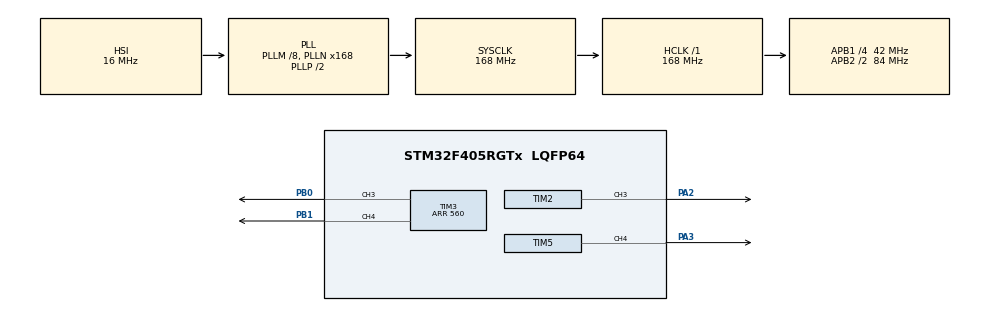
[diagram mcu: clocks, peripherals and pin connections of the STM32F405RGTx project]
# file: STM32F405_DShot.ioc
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Dma.Request0=TIM3_CH4/UP
Dma.Request1=TIM2_UP/CH3
Dma.Request2=TIM3_CH3
Dma.Request3=TIM5_CH4/TRIG
Dma.TIM2_UP/CH3.1.Direction=DMA_MEMORY_TO_PERIPH
Dma.TIM2_UP/CH3.1.FIFOMode=DMA_FIFOMODE_DISABLE
Dma.TIM2_UP/CH3.1.Instance=DMA1_Stream1
Dma.TIM2_UP/CH3.1.MemDataAlignment=DMA_MDATAALIGN_WORD
Dma.TIM2_UP/CH3.1.MemInc=DMA_MINC_ENABLE
Dma.TIM2_UP/CH3.1.Mode=DMA_NORMAL
Dma.TIM2_UP/CH3.1.PeriphDataAlignment=DMA_PDATAALIGN_WORD
Dma.TIM2_UP/CH3.1.PeriphInc=DMA_PINC_DISABLE
Dma.TIM2_UP/CH3.1.Priority=DMA_PRIORITY_HIGH
Dma.TIM3_CH3.2.Direction=DMA_MEMORY_TO_PERIPH
Dma.TIM3_CH3.2.FIFOMode=DMA_FIFOMODE_DISABLE
Dma.TIM3_CH3.2.Instance=DMA1_Stream7
Dma.TIM3_CH3.2.MemDataAlignment=DMA_MDATAALIGN_WORD
Dma.TIM3_CH3.2.MemInc=DMA_MINC_ENABLE
Dma.TIM3_CH3.2.Mode=DMA_NORMAL
Dma.TIM3_CH3.2.PeriphDataAlignment=DMA_PDATAALIGN_WORD
Dma.TIM3_CH3.2.PeriphInc=DMA_PINC_DISABLE
Dma.TIM3_CH3.2.Priority=DMA_PRIORITY_HIGH
Dma.TIM3_CH4/UP.0.Direction=DMA_MEMORY_TO_PERIPH
Dma.TIM3_CH4/UP.0.FIFOMode=DMA_FIFOMODE_DISABLE
Dma.TIM3_CH4/UP.0.Instance=DMA1_Stream2
Dma.TIM3_CH4/UP.0.MemDataAlignment=DMA_MDATAALIGN_WORD
Dma.TIM3_CH4/UP.0.MemInc=DMA_MINC_ENABLE
Dma.TIM3_CH4/UP.0.Mode=DMA_NORMAL
Dma.TIM3_CH4/UP.0.PeriphDataAlignment=DMA_PDATAALIGN_WORD
Dma.TIM3_CH4/UP.0.PeriphInc=DMA_PINC_DISABLE
Dma.TIM3_CH4/UP.0.Priority=DMA_PRIORITY_HIGH
Dma.TIM5_CH4/TRIG.3.Direction=DMA_MEMORY_TO_PERIPH
Dma.TIM5_CH4/TRIG.3.FIFOMode=DMA_FIFOMODE_DISABLE
Dma.TIM5_CH4/TRIG.3.Instance=DMA1_Stream3
Dma.TIM5_CH4/TRIG.3.MemDataAlignment=DMA_MDATAALIGN_WORD
Dma.TIM5_CH4/TRIG.3.MemInc=DMA_MINC_ENABLE
Dma.TIM5_CH4/TRIG.3.Mode=DMA_NORMAL
Dma.TIM5_CH4/TRIG.3.PeriphDataAlignment=DMA_PDATAALIGN_WORD
Dma.TIM5_CH4/TRIG.3.PeriphInc=DMA_PINC_DISABLE
Dma.TIM5_CH4/TRIG.3.Priority=DMA_PRIORITY_HIGH
Mcu.Family=STM32F4
Mcu.Name=STM32F405RGTx
Mcu.Package=LQFP64
NVIC.DMA1_Stream1_IRQn=true\:0\:0\:false\:false\:true\:false\:true\:true
NVIC.DMA1_Stream2_IRQn=true\:0\:0\:false\:false\:true\:false\:true\:true
NVIC.DMA1_Stream3_IRQn=true\:0\:0\:false\:false\:true\:false\:true\:true
NVIC.DMA1_Stream7_IRQn=true\:0\:0\:false\:false\:true\:false\:true\:true
NVIC.PriorityGroup=NVIC_PRIORITYGROUP_4
NVIC.TIM2_IRQn=true\:0\:0\:false\:false\:true\:true\:true\:true
NVIC.TIM3_IRQn=true\:0\:0\:false\:false\:true\:true\:true\:true
PA2.Signal=S_TIM2_CH3
PA3.Signal=S_TIM5_CH4
PB0.Signal=S_TIM3_CH3
PB1.Signal=S_TIM3_CH4
PH0-OSC_IN.Mode=HSE-External-Oscillator
PH0-OSC_IN.Signal=RCC_OSC_IN
PH1-OSC_OUT.Mode=HSE-External-Oscillator
PH1-OSC_OUT.Signal=RCC_OSC_OUT
ProjectManager.HeapSize=0x200
ProjectManager.StackSize=0x400
ProjectManager.TargetToolchain=STM32CubeIDE
RCC.48MHZClocksFreq_Value=84000000
RCC.AHBFreq_Value=168000000
RCC.APB1CLKDivider=RCC_HCLK_DIV4
RCC.APB1Freq_Value=42000000
RCC.APB1TimFreq_Value=84000000
RCC.APB2CLKDivider=RCC_HCLK_DIV2
RCC.APB2Freq_Value=84000000
RCC.APB2TimFreq_Value=168000000
RCC.CortexFreq_Value=168000000
RCC.HCLKFreq_Value=168000000
RCC.HSE_VALUE=8000000
RCC.HSI_VALUE=16000000
RCC.LSE_VALUE=32768
RCC.PLLM=8
RCC.PLLN=168
RCC.SYSCLKFreq_VALUE=168000000
RCC.SYSCLKSource=RCC_SYSCLKSOURCE_PLLCLK
RCC.VCOOutputFreq_Value=336000000
SH.S_TIM2_CH3.0=TIM2_CH3,PWM Generation3 CH3
SH.S_TIM3_CH3.0=TIM3_CH3,PWM Generation3 CH3
SH.S_TIM3_CH4.0=TIM3_CH4,PWM Generation4 CH4
SH.S_TIM5_CH4.0=TIM5_CH4,PWM Generation4 CH4
TIM2.Channel-PWM\ Generation3\ CH3=TIM_CHANNEL_3
TIM2.Period=560
TIM3.Channel-PWM\ Generation3\ CH3=TIM_CHANNEL_3
TIM3.Channel-PWM\ Generation4\ CH4=TIM_CHANNEL_4
TIM3.Period=560
TIM5.Channel-PWM\ Generation4\ CH4=TIM_CHANNEL_4
TIM5.Period=560
TIM5.Prescaler=0
VP_TIM2_VS_ClockSourceINT.Mode=Internal
VP_TIM3_VS_ClockSourceINT.Mode=Internal
board=custom

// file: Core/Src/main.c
/* USER CODE BEGIN Header */
/**
  ******************************************************************************
  * @file           : main.c
  * @brief          : Main program body
  ******************************************************************************
  * @attention
  *
  * Copyright (c) 2025 STMicroelectronics.
  * All rights reserved.
  *
  * This software is licensed under terms that can be found in the LICENSE file
  * in the root directory of this software component.
  * If no LICENSE file comes with this software, it is provided AS-IS.
  *
  ******************************************************************************
  */
/* USER CODE END Header */
#include "main.h"
#include "dma.h"
#include "tim.h"
#include "gpio.h"

/* USER CODE BEGIN Includes */
#include "err_code.h"
#include "esc_dshot.h"
/* USER CODE END Includes */

/* USER CODE BEGIN PD */
#define FL_ESC_DSHOT_TIM                htim3
#define FL_ESC_DSHOT_TIM_CHNL           TIM_CHANNEL_3

#define FR_ESC_DSHOT_TIM                htim3
#define FR_ESC_DSHOT_TIM_CHNL           TIM_CHANNEL_4

#define BL_ESC_DSHOT_TIM                htim5
#define BL_ESC_DSHOT_TIM_CHNL           TIM_CHANNEL_4

#define BR_ESC_DSHOT_TIM                htim2
#define BR_ESC_DSHOT_TIM_CHNL           TIM_CHANNEL_3

#define DMA_BUF_SIZE                    18
#define CONFIG_ESC_DSHOT_TYPE           ESC_DSHOT_TYPE_600
/* USER CODE END PD */

/* USER CODE BEGIN PV */
esc_dshot_handle_t fl_esc_dshot_handle;
esc_dshot_handle_t fr_esc_dshot_handle;
esc_dshot_handle_t bl_esc_dshot_handle;
esc_dshot_handle_t br_esc_dshot_handle;

uint32_t fl_esc_dshot_dmabuffer[DMA_BUF_SIZE];
uint32_t fr_esc_dshot_dmabuffer[DMA_BUF_SIZE];
uint32_t bl_esc_dshot_dmabuffer[DMA_BUF_SIZE];
uint32_t br_esc_dshot_dmabuffer[DMA_BUF_SIZE];
/* USER CODE END PV */

void SystemClock_Config(void);
/* USER CODE BEGIN PFP */
err_code_t hw_intf_fl_esc_dshot_send_dma(uint32_t *packet_dma);
err_code_t hw_intf_fr_esc_dshot_send_dma(uint32_t *packet_dma);
err_code_t hw_intf_bl_esc_dshot_send_dma(uint32_t *packet_dma);
err_code_t hw_intf_br_esc_dshot_send_dma(uint32_t *packet_dma);
/* USER CODE END PFP */

int main(void)
{

    /* MCU Configuration--------------------------------------------------------*/

    /* Reset of all peripherals, Initializes the Flash interface and the Systick. */
    HAL_Init();

    /* Configure the system clock */
    SystemClock_Config();

    /* Initialize all configured peripherals */
    MX_GPIO_Init();
    MX_DMA_Init();
    MX_TIM2_Init();
    MX_TIM3_Init();
    MX_TIM5_Init();
    /* USER CODE BEGIN 2 */
    fl_esc_dshot_handle = esc_dshot_init();
    fr_esc_dshot_handle = esc_dshot_init();
    bl_esc_dshot_handle = esc_dshot_init();
    br_esc_dshot_handle = esc_dshot_init();

    esc_dshot_cfg_t fl_esc_dshot_cfg = {
        .dshot_type = CONFIG_ESC_DSHOT_TYPE,
        .tick_bit   = 560,
        .send_dma   = hw_intf_fl_esc_dshot_send_dma
    };

    esc_dshot_cfg_t fr_esc_dshot_cfg = {
        .dshot_type = CONFIG_ESC_DSHOT_TYPE,
        .tick_bit   = 560,
        .send_dma   = hw_intf_fr_esc_dshot_send_dma
    };

    esc_dshot_cfg_t bl_esc_dshot_cfg = {
        .dshot_type = CONFIG_ESC_DSHOT_TYPE,
        .tick_bit   = 560,
        .send_dma   = hw_intf_bl_esc_dshot_send_dma
    };

    esc_dshot_cfg_t br_esc_dshot_cfg = {
        .dshot_type = CONFIG_ESC_DSHOT_TYPE,
        .tick_bit   = 560,
        .send_dma   = hw_intf_br_esc_dshot_send_dma
    };

    esc_dshot_set_config(fl_esc_dshot_handle, fl_esc_dshot_cfg);
    esc_dshot_set_config(fr_esc_dshot_handle, fr_esc_dshot_cfg);
    esc_dshot_set_config(bl_esc_dshot_handle, bl_esc_dshot_cfg);
    esc_dshot_set_config(br_esc_dshot_handle, br_esc_dshot_cfg);

    esc_dshot_config(fl_esc_dshot_handle);
    esc_dshot_config(fr_esc_dshot_handle);
    esc_dshot_config(bl_esc_dshot_handle);
    esc_dshot_config(br_esc_dshot_handle);

    uint16_t throttle = 500;
    esc_dshot_prepare_packet(fl_esc_dshot_handle, throttle, fl_esc_dshot_dmabuffer);
    esc_dshot_prepare_packet(fr_esc_dshot_handle, throttle, fr_esc_dshot_dmabuffer);
    esc_dshot_prepare_packet(bl_esc_dshot_handle, throttle, bl_esc_dshot_dmabuffer);
    esc_dshot_prepare_packet(br_esc_dshot_handle, throttle, br_esc_dshot_dmabuffer);
    /* USER CODE END 2 */

    /* Infinite loop */
    /* USER CODE BEGIN WHILE */
    while (1)
    {
        esc_dshot_send_packet(fl_esc_dshot_handle, fl_esc_dshot_dmabuffer);
        esc_dshot_send_packet(fr_esc_dshot_handle, fr_esc_dshot_dmabuffer);
        esc_dshot_send_packet(bl_esc_dshot_handle, bl_esc_dshot_dmabuffer);
        esc_dshot_send_packet(br_esc_dshot_handle, br_esc_dshot_dmabuffer);

        HAL_Delay(500);
        /* USER CODE END WHILE */

    }
}

void SystemClock_Config(void)
{
    RCC_OscInitTypeDef RCC_OscInitStruct = {0};
    RCC_ClkInitTypeDef RCC_ClkInitStruct = {0};

    /** Configure the main internal regulator output voltage
    */
    __HAL_RCC_PWR_CLK_ENABLE();
    __HAL_PWR_VOLTAGESCALING_CONFIG(PWR_REGULATOR_VOLTAGE_SCALE1);

    /** Initializes the RCC Oscillators according to the specified parameters
    * in the RCC_OscInitTypeDef structure.
    */
    RCC_OscInitStruct.OscillatorType = RCC_OSCILLATORTYPE_HSI;
    RCC_OscInitStruct.HSIState = RCC_HSI_ON;
    RCC_OscInitStruct.HSICalibrationValue = RCC_HSICALIBRATION_DEFAULT;
    RCC_OscInitStruct.PLL.PLLState = RCC_PLL_ON;
    RCC_OscInitStruct.PLL.PLLSource = RCC_PLLSOURCE_HSI;
    RCC_OscInitStruct.PLL.PLLM = 8;
    RCC_OscInitStruct.PLL.PLLN = 168;
    RCC_OscInitStruct.PLL.PLLP = RCC_PLLP_DIV2;
    RCC_OscInitStruct.PLL.PLLQ = 4;
    if (HAL_RCC_OscConfig(&RCC_OscInitStruct) != HAL_OK)
    {
        Error_Handler();
    }

    /** Initializes the CPU, AHB and APB buses clocks
    */
    RCC_ClkInitStruct.ClockType = RCC_CLOCKTYPE_HCLK | RCC_CLOCKTYPE_SYSCLK
                                  | RCC_CLOCKTYPE_PCLK1 | RCC_CLOCKTYPE_PCLK2;
    RCC_ClkInitStruct.SYSCLKSource = RCC_SYSCLKSOURCE_PLLCLK;
    RCC_ClkInitStruct.AHBCLKDivider = RCC_SYSCLK_DIV1;
    RCC_ClkInitStruct.APB1CLKDivider = RCC_HCLK_DIV4;
    RCC_ClkInitStruct.APB2CLKDivider = RCC_HCLK_DIV2;

    if (HAL_RCC_ClockConfig(&RCC_ClkInitStruct, FLASH_LATENCY_5) != HAL_OK)
    {
        Error_Handler();
    }
}

/* USER CODE BEGIN 4 */
err_code_t hw_intf_fl_esc_dshot_send_dma(uint32_t *packet_dma)
{
    HAL_TIM_PWM_Start_DMA(&FL_ESC_DSHOT_TIM, FL_ESC_DSHOT_TIM_CHNL, packet_dma, DMA_BUF_SIZE);
    return ERR_CODE_SUCCESS;
}

err_code_t hw_intf_fr_esc_dshot_send_dma(uint32_t *packet_dma)
{
    HAL_TIM_PWM_Start_DMA(&FR_ESC_DSHOT_TIM, FR_ESC_DSHOT_TIM_CHNL, packet_dma, DMA_BUF_SIZE);
    return ERR_CODE_SUCCESS;
}

err_code_t hw_intf_bl_esc_dshot_send_dma(uint32_t *packet_dma)
{
    HAL_TIM_PWM_Start_DMA(&BL_ESC_DSHOT_TIM, BL_ESC_DSHOT_TIM_CHNL, packet_dma, DMA_BUF_SIZE);
    return ERR_CODE_SUCCESS;
}

err_code_t hw_intf_br_esc_dshot_send_dma(uint32_t *packet_dma)
{
    HAL_TIM_PWM_Start_DMA(&BR_ESC_DSHOT_TIM, BR_ESC_DSHOT_TIM_CHNL, packet_dma, DMA_BUF_SIZE);
    return ERR_CODE_SUCCESS;
}
/* USER CODE END 4 */

void Error_Handler(void)
{
    __disable_irq();
    while (1)
    {
    }
}
